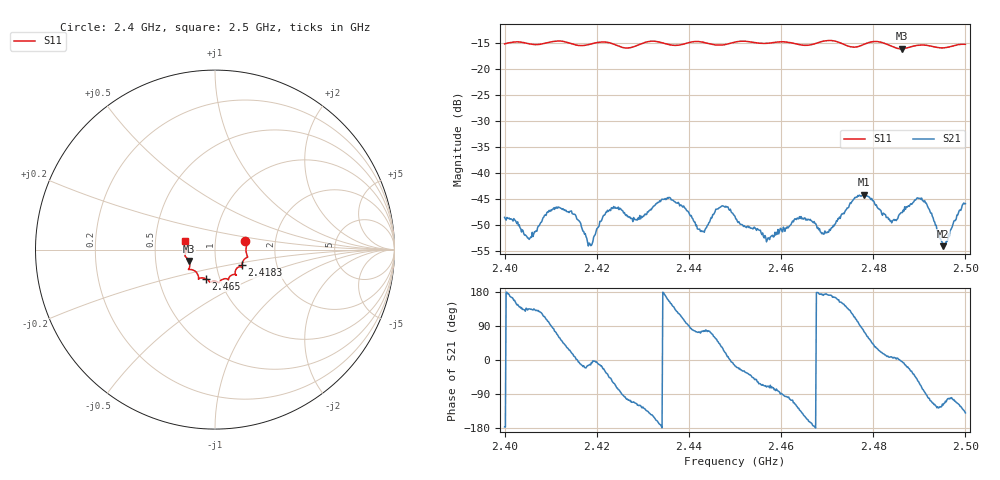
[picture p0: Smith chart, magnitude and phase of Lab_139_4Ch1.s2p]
# Hz S RI R 50
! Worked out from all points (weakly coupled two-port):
!   601 points, 2.4 GHz to 2.5 GHz, reference 50 ohm
!   highest |S21| = -44.12 dB at 2.478 GHz (marker M1); lowest = -54.1 dB at 2.4952 GHz (marker M2)
!   lowest |S11| = -16.1 dB at 2.4862 GHz (marker M3), VSWR 1.37, Z = 37.2 - j4.81 ohm
!   |S11| at or under -10 dB: start of sweep to end of sweep
!   S12 and S22 are empty: the file has one direction only
!   S11 on the Smith chart (normalised r, x): 2.4 GHz: 1.40, +0.13; 2.4183 GHz: 1.33, -0.24; 2.465 GHz: 0.86, -0.29; 2.5 GHz: 0.71, +0.07
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2.4e9  0.1693 0.046  -0.00375 -0.00023  0 0  0 0
2.405333e9  0.1748 0.0161  -0.00162 0.00163  0 0  0 0
2.411167e9  0.182 -0.0399  0.00138 0.00439  0 0  0 0
2.416667e9  0.1545 -0.0678  0.00297 -0.000696  0 0  0 0
2.418333e9  0.1498 -0.0868  0.00207 -0.000479  0 0  0 0
2.423167e9  0.1489 -0.0971  0.00294 -0.0036  0 0  0 0
2.428333e9  0.1129 -0.1226  -0.00142 -0.00326  0 0  0 0
2.433333e9  0.1174 -0.1411  -0.00504 -0.00136  0 0  0 0
2.438667e9  0.0789 -0.1545  -0.00156 0.00445  0 0  0 0
2.442833e9  0.0733 -0.1675  0.000702 0.00265  0 0  0 0
2.447e9  0.0436 -0.1651  0.00389 0.00275  0 0  0 0
2.45e9  0.0252 -0.1809  0.0037 -0.00104  0 0  0 0
2.457167e9  -0.0114 -0.1775  0.000862 -0.00222  0 0  0 0
2.465e9  -0.0524 -0.1616  -0.0031 -0.00199  0 0  0 0
2.466667e9  -0.0713 -0.1573  -0.00338 -0.000744  0 0  0 0
2.470167e9  -0.0919 -0.1649  -0.0027 0.000373  0 0  0 0
2.478e9  -0.1333 -0.1113  0.00165 0.006  0 0  0 0
2.483333e9  -0.1414 -0.0963  0.00355 0.000497  0 0  0 0
2.486167e9  -0.144 -0.0631  0.00417 -0.000296  0 0  0 0
2.490667e9  -0.1674 -0.0353  0.00127 -0.00532  0 0  0 0
2.495167e9  -0.1603 0.00633  -0.00096 -0.00173  0 0  0 0
2.5e9  -0.1672 0.0471  -0.00387 -0.0033  0 0  0 0
